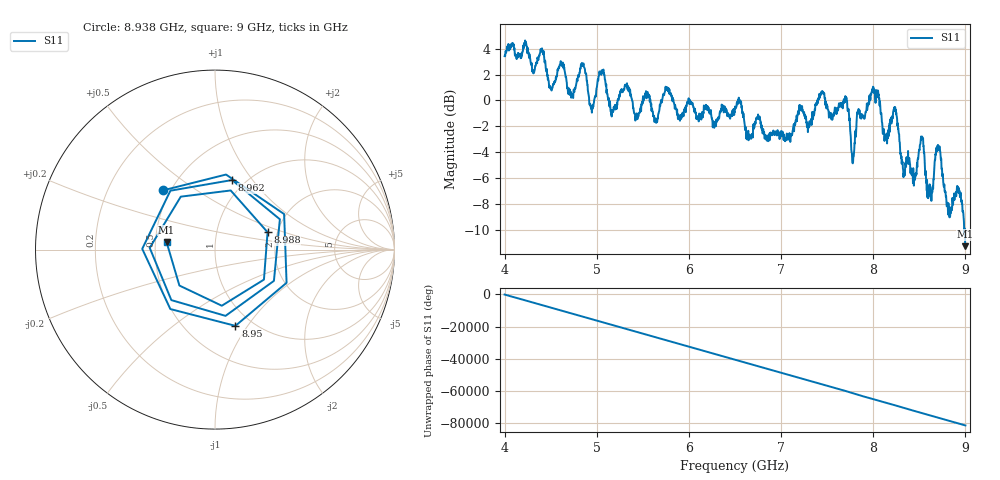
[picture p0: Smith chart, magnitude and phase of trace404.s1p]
! Created with skrf 1.8.0 (http://scikit-rf.org).
# Hz S RI R 50.0
!freq ReS11 ImS11
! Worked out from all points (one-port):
!   1601 points, 4 GHz to 9 GHz, reference 50 ohm
!   lowest |S11| = -11.3 dB at 9 GHz (marker M1), VSWR 1.75, Z = 28.7 + j2.61 ohm
!   |S11| at or under -10 dB: 8.987008 GHz to 8.990048 GHz (3.04 MHz wide, 0.0338 % of centre); 8.993236 GHz to end of sweep
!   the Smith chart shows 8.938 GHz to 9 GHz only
!   S11 on the Smith chart (normalised r, x): 8.938 GHz: 0.46, +0.37; 8.95 GHz: 0.84, -0.88; 8.962 GHz: 0.87, +0.80; 8.988 GHz: 1.78, +0.38; 9 GHz: 0.57, +0.05
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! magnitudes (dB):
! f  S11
! 4 GHz  3.4
! 4.403 GHz  4.0
! 4.506 GHz  0.9
! 4.625 GHz  2.8
! 4.731 GHz  0.4
! 4.853 GHz  2.7
! 4.944 GHz  -0.6
! 5.053 GHz  2.3
! 5.162 GHz  -1.2
! 5.25 GHz  0.3
! 5.875 GHz  -1.1
! 6.5 GHz  -0.5
! 7.125 GHz  -2.4
! 7.444 GHz  0.7
! 7.697 GHz  0.3
! 7.75 GHz  -2.3
! 7.788 GHz  -4.3
! 8.009 GHz  0.6
! 8.375 GHz  -4.8
! 8.531 GHz  -2.8
! 8.619 GHz  -6.7
! 8.706 GHz  -3.7
! 8.819 GHz  -8.3
! 8.938 GHz  -7.2
! 8.95 GHz  -7.1
! 8.962 GHz  -8.0
! 8.988 GHz  -10.2
! 9 GHz  -11.3
